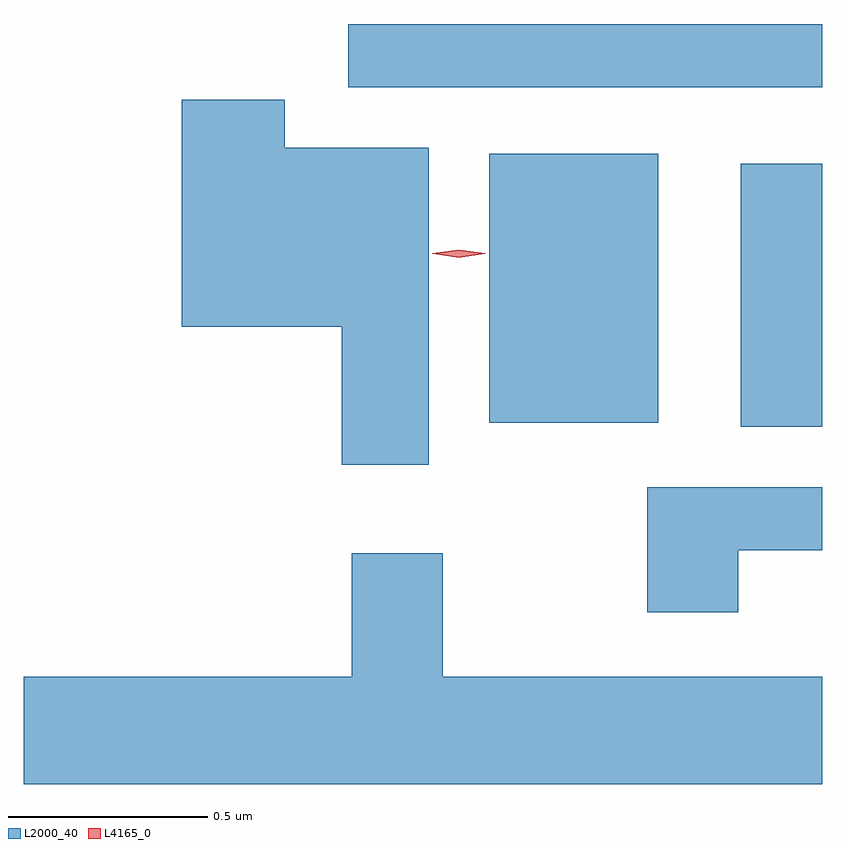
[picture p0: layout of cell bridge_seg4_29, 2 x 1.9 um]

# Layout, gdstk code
import gdstk
lib = gdstk.Library(unit=1e-6, precision=1e-09)
def R(c, l, rs):  # rectangles x0, y0, x1, y1
    for r in rs: c.add(gdstk.rectangle(r[:2], r[2:], *l))
def P(c, l, *ps):  # polygons
    for p in ps: c.add(gdstk.Polygon(p, *l))
L2000_40 = (2000, 40)
L4165_0 = (4165, 0)

bridge_seg4_29 = lib.new_cell('bridge_seg4_29')
R(bridge_seg4_29, L2000_40, [(1206.416,1306.731,1206.62,1307.389), (1205.786,1306.741,1206.209,1307.414), (1205.433,1307.581,1206.62,1307.739)])
P(bridge_seg4_29, L2000_40, [(1205.634,1307.429),(1205.274,1307.429),(1205.274,1307.549),(1205.016,1307.549),(1205.016,1306.981),(1205.416,1306.981),(1205.416,1306.636),(1205.634,1306.636)],
  [(1206.409,1306.421),(1206.62,1306.421),(1206.62,1306.579),(1206.181,1306.579),(1206.181,1306.266),(1206.409,1306.266)],
  [(1206.62,1306.104),(1205.669,1306.104),(1205.669,1306.414),(1205.441,1306.414),(1205.441,1306.104),(1204.62,1306.104),(1204.62,1305.836),(1206.62,1305.836)])
P(bridge_seg4_29, L4165_0, [(1205.71,1307.154),(1205.644,1307.164),(1205.643,1307.164),(1205.644,1307.165),(1205.71,1307.174),(1205.776,1307.165),(1205.776,1307.164),(1205.776,1307.164)])

lib.write_gds('bridge_seg4_29.gds')
